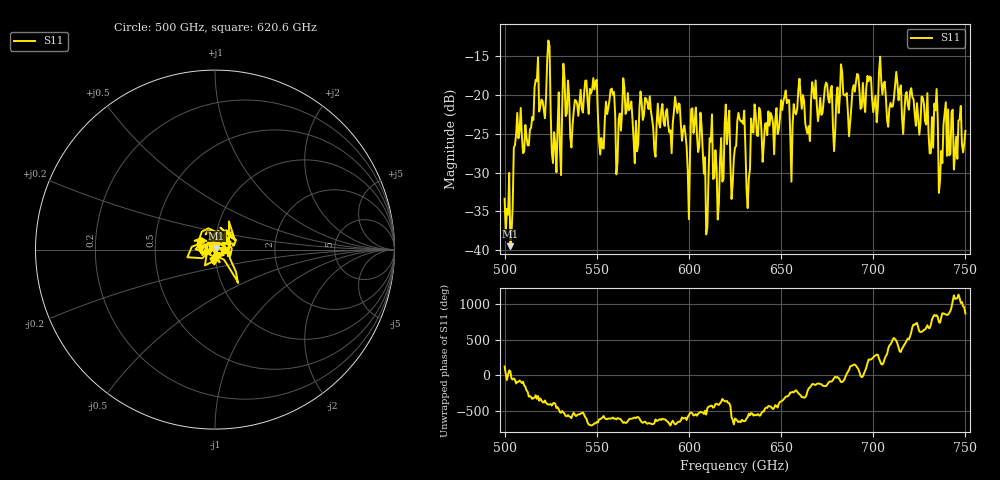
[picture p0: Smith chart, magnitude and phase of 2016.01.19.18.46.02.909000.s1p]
!Created with skrf (http://scikit-rf.org).
# GHz S RI R 50.0
!freq ReS11 ImS11
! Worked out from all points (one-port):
!   401 points, 500 GHz to 750 GHz, reference 50 ohm
!   lowest |S11| = -39.5 dB at 503.1 GHz (marker M1), VSWR 1.02, Z = 50.6 + j0.855 ohm
!   |S11| at or under -10 dB: start of sweep to end of sweep
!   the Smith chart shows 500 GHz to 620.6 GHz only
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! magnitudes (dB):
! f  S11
! 500 GHz  -33.4
! 503.1 GHz  -39.5
! 506.2 GHz  -25.1
! 516.9 GHz  -18.0
! 523.8 GHz  -12.9
! 526.9 GHz  -24.8
! 531.2 GHz  -21.5
! 548.8 GHz  -19.2
! 552.5 GHz  -25.5
! 558.1 GHz  -19.1
! 562.5 GHz  -22.4
! 593.8 GHz  -22.3
! 599.4 GHz  -29.8
! 602.5 GHz  -24.9
! 607.5 GHz  -27.3
! 609.4 GHz  -38.0
! 620.6 GHz  -26.3
! 625 GHz  -26.7
! 628.8 GHz  -23.3
! 631.9 GHz  -34.6
! 652.5 GHz  -19.4
! 656.2 GHz  -23.8
! 687.5 GHz  -23.4
! 718.8 GHz  -21.2
! 733.8 GHz  -21.9
! 736.9 GHz  -27.2
! 739.4 GHz  -20.9
! 750 GHz  -24.6
